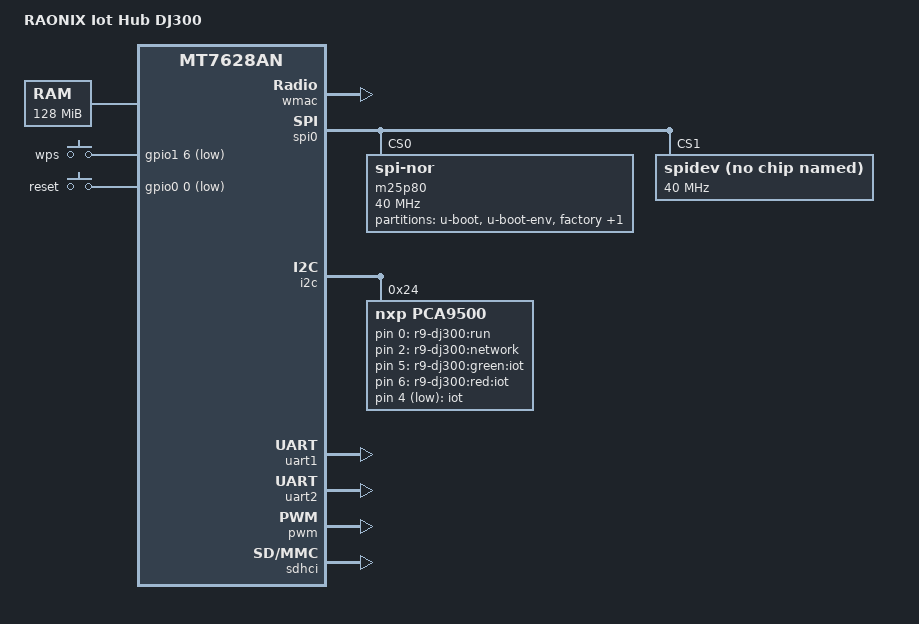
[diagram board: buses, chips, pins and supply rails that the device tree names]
/dts-v1/;

#include "mt7628an.dtsi"

#include <dt-bindings/gpio/gpio.h>
#include <dt-bindings/input/input.h>

/ {
	compatible = "raonix,dj300", "mediatek,mt7628an-soc";
	model = "RAONIX Iot Hub DJ300";

	chosen {
		bootargs = "console=ttyS2,57600";
	};

	aliases {
		serial0 = &uart2;
	};

	memory@0 {
		device_type = "memory";
		reg = <0x0 0x8000000>;
	};

	bootstrap {
		compatible = "raonix,dj300";

		status = "okay";
	};

	gpio-leds {
		compatible = "gpio-leds";

		run {
			label = "r9-dj300:run";
			gpios = <&pca9500 0 0>;
			default-state = "on";
		};
		network {
			label = "r9-dj300:network";
			gpios = <&pca9500 2 0>;
			default-state = "on";
		};
		iot-green {
			label = "r9-dj300:green:iot";
			gpios = <&pca9500 5 0>;
			default-state = "on";
		};
		iot-red {
			label = "r9-dj300:red:iot";
			gpios = <&pca9500 6 0>;
			default-state = "on";
		};
	};

	gpio-keys-polled {
		compatible = "gpio-keys-polled";
		#address-cells = <1>;
		#size-cells = <0>;
		poll-interval = <50>;

		wps {
			label = "wps";
			gpios = <&gpio1 6 GPIO_ACTIVE_LOW>;
			linux,code = <KEY_WPS_BUTTON>;
		};
		reset {
			label = "reset";
			gpios = <&gpio0 0 1>;
			linux,code = <0x198>;
		};
		iot {
			label = "iot";
			gpios = <&pca9500 4 1>;
			linux,code = <0x100>;
		};
	};
};

&pinctrl {
	state_default: pinctrl0 {
		gpio {
			ralink,group = "gpio";
			ralink,function = "gpio";
		};
		perst {
			ralink,group = "perst";
			ralink,function = "gpio";
		};
		refclk {
			ralink,group = "refclk";
			ralink,function = "gpio";
		};
		i2s {
			ralink,group = "i2s";
			ralink,function = "gpio";
		};
		spis {
			ralink,group = "spis";
			ralink,function = "gpio";
		};
		wled_an {
			ralink,group = "wled_an";
			ralink,function = "gpio";
		};

		wdt {
			ralink,group = "wdt";
			ralink,function = "gpio";
		};
	};
};

&wmac {
	status = "okay";
};

&spi0 {
	status = "okay";

	pinctrl-names = "default";
	pinctrl-0 = <&spi_pins>, <&spi_cs1_pins>;

	m25p80@0 {
		#address-cells = <1>;
		#size-cells = <1>;
		compatible = "jedec,spi-nor";
		reg = <0>;
		spi-max-frequency = <40000000>;
		m25p,chunked-io = <31>;

		partition@0 {
			label = "u-boot";
			reg = <0x0 0x30000>;
			read-only;
		};

		partition@30000 {
			label = "u-boot-env";
			reg = <0x30000 0x10000>;
		};

		factory: partition@40000 {
			label = "factory";
			reg = <0x40000 0x10000>;
			read-only;
		};

		partition@50000 {
			label = "firmware";
			reg = <0x50000 0x1fb0000>;
		};
	};

	spidev@1 {
		#address-cells = <1>;
		#size-cells = <1>;
		compatible = "linux,spidev";
		reg = <1>;
		spi-max-frequency = <40000000>;
	};
};

&i2c {
	status = "okay";

	pca9500: pca9500 {
		compatible = "nxp,pca9500";
		gpio-controller;
		#gpio-cells = <2>;
		reg = <0x24>;
	};
};

&uart1 {
	status = "okay";
};

&uart2 {
	status = "okay";
};

&pwm {
	status = "okay";
};

&ethernet {
	mtd-mac-address = <&factory 0x28>;
};

&sdhci {
	status = "okay";
	mediatek,cd-high;
};

&wmac {
	status = "okay";
};
